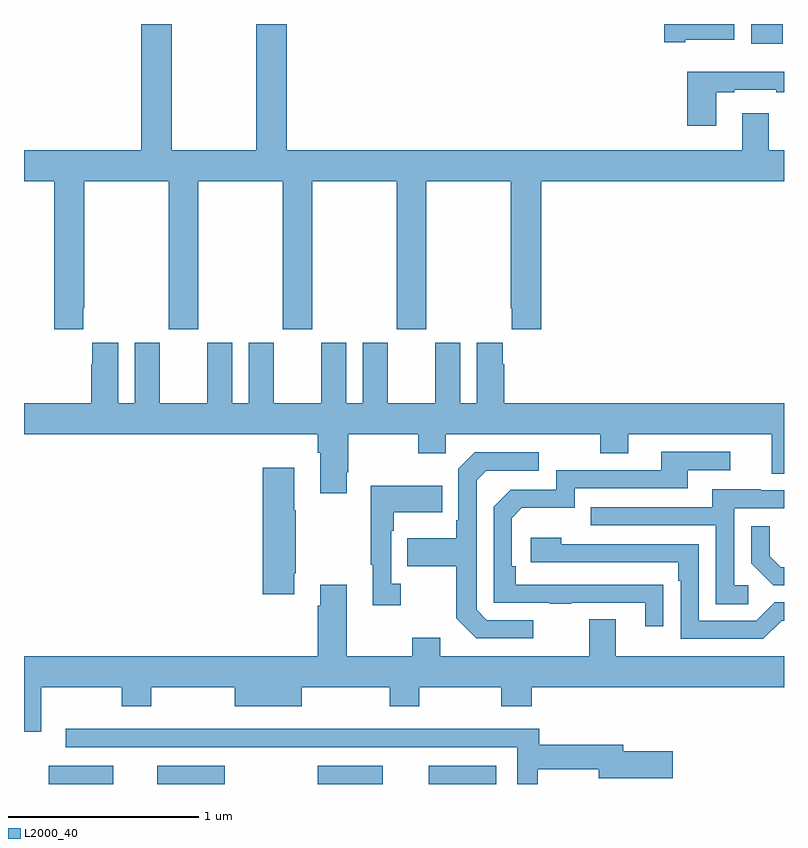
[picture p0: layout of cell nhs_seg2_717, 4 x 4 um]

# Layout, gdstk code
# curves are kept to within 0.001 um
import gdstk
lib = gdstk.Library(unit=1e-6, precision=1e-09)
def R(c, l, rs):  # rectangles x0, y0, x1, y1
    for r in rs: c.add(gdstk.rectangle(r[:2], r[2:], *l))
def P(c, l, *ps):  # polygons
    for p in ps: c.add(gdstk.Polygon(p, *l))
L2000_40 = (2000, 40)

nhs_seg2_717 = lib.new_cell('nhs_seg2_717')
R(nhs_seg2_717, L2000_40, [(147.131,641.8,147.469,641.896), (147.701,641.8,148.057,641.896), (148.547,641.8,148.888,641.896), (149.129,641.8,149.485,641.896), (150.827,645.696,150.994,645.8)])
P(nhs_seg2_717, L2000_40, [(147.313,644.305),(147.318,644.305),(147.318,644.972),(147.763,644.972),(147.763,644.193),(147.918,644.193),(147.918,644.972),(148.363,644.972),(148.363,644.193),(148.518,644.193),(148.518,644.972),(148.963,644.972),(148.963,644.193),(149.118,644.193),(149.118,644.972),(149.563,644.972),(149.563,644.305),(149.567,644.305),(149.567,644.193),(149.723,644.193),(149.723,644.972),(151,644.972),(151,645.136),(150.919,645.136),(150.919,645.331),(150.779,645.331),(150.779,645.136),(148.382,645.136),(148.382,645.8),(148.222,645.8),(148.222,645.136),(147.777,645.136),(147.777,645.8),(147.617,645.8),(147.617,645.136),(147,645.136),(147,644.972),(147.158,644.972),(147.158,644.193),(147.313,644.193)],
  [(150.481,645.716),(150.739,645.716),(150.739,645.8),(150.369,645.8),(150.369,645.704),(150.481,645.704)],
  [(150.643,645.441),(150.739,645.441),(150.739,645.453),(150.959,645.453),(150.959,645.441),(151,645.441),(151,645.55),(150.491,645.55),(150.491,645.264),(150.643,645.264)],
  [(148.699,643.441),(148.707,643.441),(148.707,643.64),(149.074,643.64),(149.074,643.541),(149.22,643.541),(149.22,643.64),(150.034,643.64),(150.034,643.541),(150.181,643.541),(150.181,643.64),(150.935,643.64),(150.935,643.432),(151,643.432),(151,643.804),(149.528,643.804),(149.528,644.009),(149.521,644.009),(149.521,644.122),(149.384,644.122),(149.384,643.804),(149.296,643.804),(149.296,644.122),(149.165,644.122),(149.165,643.804),(148.915,643.804),(148.915,644.122),(148.784,644.122),(148.784,643.804),(148.696,643.804),(148.696,644.122),(148.565,644.122),(148.565,643.804),(148.315,643.804),(148.315,644.122),(148.184,644.122),(148.184,643.804),(148.096,643.804),(148.096,644.122),(147.965,644.122),(147.965,643.804),(147.715,643.804),(147.715,644.122),(147.584,644.122),(147.584,643.804),(147.496,643.804),(147.496,644.122),(147.359,644.122),(147.359,644.009),(147.353,644.009),(147.353,643.804),(147,643.804),(147,643.64),(148.547,643.64),(148.547,643.544),(148.559,643.544),(148.559,643.329),(148.699,643.329)],
  [(150.365,642.848),(149.588,642.849),(149.588,642.946),(149.568,642.946),(149.568,643.2),(149.621,643.253),(149.898,643.253),(149.898,643.356),(150.493,643.356),(150.493,643.452),(150.718,643.452),(150.718,643.548),(150.353,643.548),(150.353,643.452),(149.802,643.452),(149.802,643.35),(149.562,643.35),(149.472,643.26),(149.472,642.753),(149.767,642.753),(149.767,642.748),(149.879,642.748),(149.879,642.753),(150.269,642.753),(150.269,642.63),(150.365,642.63)],
  [(149.68,642.663),(149.436,642.663),(149.382,642.717),(149.382,643.398),(149.433,643.449),(149.71,643.449),(149.71,643.545),(149.373,643.545),(149.286,643.458),(149.286,643.189),(149.274,643.189),(149.274,643.093),(149.017,643.093),(149.017,642.946),(149.274,642.946),(149.274,642.673),(149.379,642.567),(149.68,642.567)],
  [(148.423,642.91),(148.431,642.91),(148.431,643.241),(148.423,643.241),(148.423,643.465),(148.256,643.465),(148.256,642.798),(148.423,642.798)],
  [(148.984,642.854),(148.932,642.854),(148.932,643.133),(148.945,643.133),(148.945,643.229),(149.201,643.229),(149.201,643.369),(148.824,643.369),(148.824,642.953),(148.835,642.953),(148.835,642.741),(148.984,642.741)],
  [(150.811,642.846),(150.738,642.846),(150.738,643.251),(151,643.251),(151,643.347),(150.877,643.347),(150.877,643.351),(150.623,643.351),(150.623,643.257),(149.983,643.257),(149.983,643.161),(150.642,643.161),(150.642,642.745),(150.811,642.745)],
  [(151,642.942),(150.982,642.942),(150.925,642.999),(150.925,643.156),(150.828,643.156),(150.828,642.962),(150.944,642.846),(151,642.846)],
  [(150.987,642.66),(151,642.66),(151,642.756),(150.951,642.756),(150.855,642.66),(150.552,642.66),(150.552,643.062),(149.828,643.062),(149.828,643.096),(149.667,643.096),(149.667,642.966),(150.443,642.966),(150.443,642.869),(150.456,642.869),(150.456,642.564),(150.891,642.564)],
  [(147.091,642.308),(147.514,642.308),(147.514,642.209),(147.669,642.209),(147.669,642.308),(148.109,642.308),(148.109,642.209),(148.462,642.209),(148.462,642.308),(148.924,642.308),(148.924,642.209),(149.079,642.209),(149.079,642.308),(149.512,642.308),(149.512,642.209),(149.672,642.209),(149.672,642.308),(151,642.308),(151,642.472),(150.115,642.472),(150.115,642.667),(149.975,642.667),(149.975,642.472),(149.191,642.472),(149.191,642.571),(149.044,642.571),(149.044,642.472),(148.699,642.472),(148.699,642.85),(148.559,642.85),(148.559,642.737),(148.547,642.737),(148.547,642.472),(147,642.472),(147,642.075),(147.091,642.075)],
  [(149.704,641.878),(150.026,641.878),(150.026,641.831),(150.415,641.831),(150.415,641.973),(150.154,641.973),(150.154,642.007),(149.711,642.007),(149.711,642.09),(149.423,642.09),(149.423,642.092),(149.167,642.092),(149.167,642.09),(148.835,642.09),(148.835,642.092),(148.558,642.092),(148.558,642.09),(148.013,642.09),(148.013,642.092),(147.757,642.092),(147.757,642.09),(147.219,642.09),(147.219,641.994),(148.144,641.994),(148.144,641.993),(148.451,641.993),(148.451,641.994),(149.595,641.994),(149.595,641.8),(149.704,641.8)])

lib.write_gds('nhs_seg2_717.gds')
